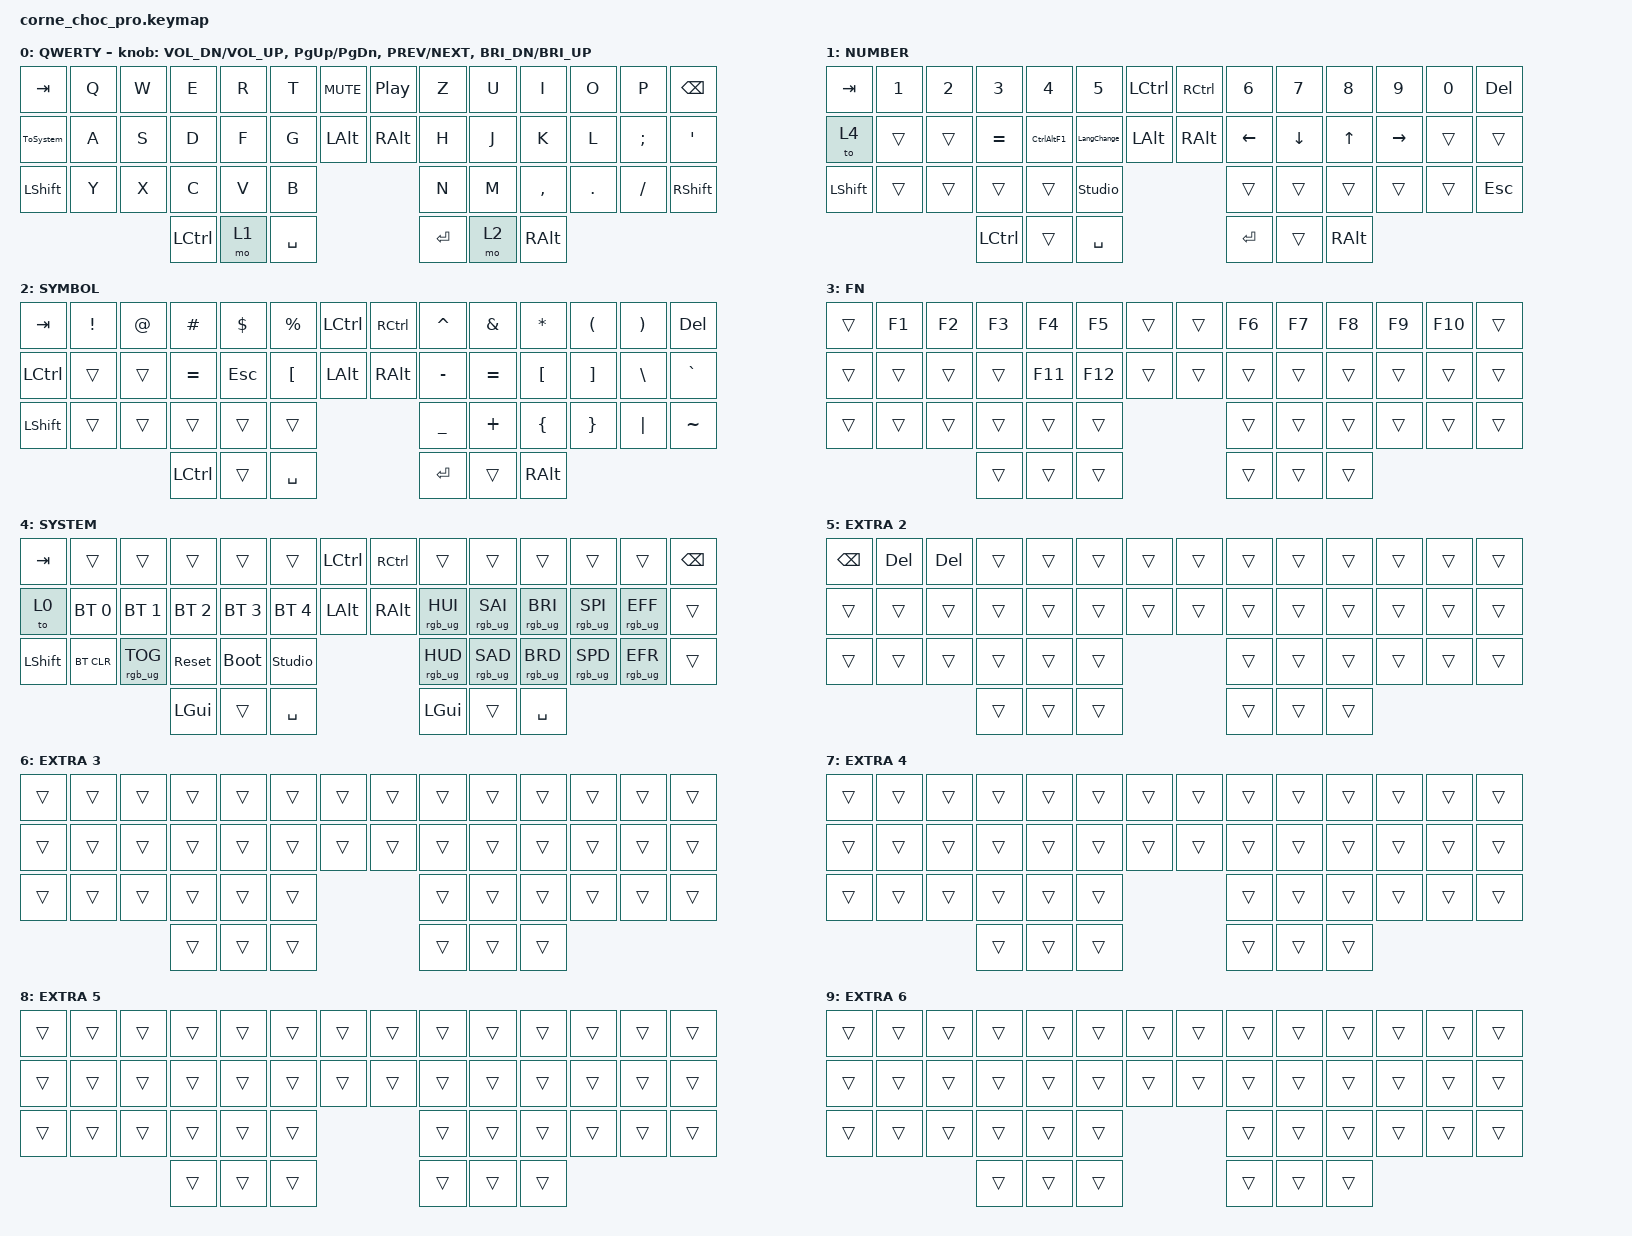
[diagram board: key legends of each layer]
/*
 * Copyright (c) 2020 The ZMK Contributors
 *
 * SPDX-License-Identifier: MIT
 */

#include <behaviors.dtsi>
#include <dt-bindings/zmk/bt.h>
#include <dt-bindings/zmk/keys.h>
#include <dt-bindings/zmk/rgb.h>
#include "keys_de.h"

/ {
    chosen { zmk,physical-layout = &default_layout; };
};

/ {
    macros {
        ToSystem: ToSystem {
            compatible = "zmk,behavior-macro";
            #binding-cells = <0>;
            bindings = <&to 4>;
            label = "TOSYSTEM";
        };

        fromSystem: fromSystem {
            compatible = "zmk,behavior-macro";
            #binding-cells = <0>;
            bindings = <&sys_reset>;
            label = "FROMSYSTEM";
        };

        CtrlAltF1: CtrlAltF1 {
            compatible = "zmk,behavior-macro";
            #binding-cells = <0>;
            bindings = <&kp LA(LC(F1))>;
            label = "CTRLALTF1";
        };

        LangChange: LangChange {
            compatible = "zmk,behavior-macro";
            #binding-cells = <0>;
            bindings = <&kp LG(SPACE)>;
            label = "LANGCHANGE";
        };
    };

    combos {
        compatible = "zmk,combos";

        win {
            bindings = <&kp LEFT_GUI>;
            key-positions = <45 40>;
        };
    };

    keymap {
        compatible = "zmk,keymap";

        default_layer {
            display-name = "QWERTY";

            // --------------------------------------------------------------------------------
            // |  TAB |  Q  |  W  |  E  |  R  |  T  |  MUTE |  PP   |  Y  |  U   |  I  |  O  |  P  | BSPC |
            // | CTRL |  A  |  S  |  D  |  F  |  G  |  LALT |  RALT |  H  |  J   |  K  |  L  |  ;  |  '   |
            // | SHFT |  Z  |  X  |  C  |  V  |  B  |               |  N  |  M   |  ,  |  .  |  /  | ESC  |
            //                    | GUI | LWR | SPC |               | ENT | RSE  | ALT |

            bindings = <
&kp TAB    &kp Q  &kp W  &kp E      &kp R  &kp T      &kp C_MUTE  &kp C_PP  &kp Z    &kp U  &kp I      &kp O    &kp P     &kp BSPC
&ToSystem  &kp A  &kp S  &kp D      &kp F  &kp G      &kp LALT    &kp RALT  &kp H    &kp J  &kp K      &kp L    &kp SEMI  &kp APOS
&kp LSHFT  &kp Y  &kp X  &kp C      &kp V  &kp B                            &kp N    &kp M  &kp COMMA  &kp DOT  &kp FSLH  &kp RIGHT_SHIFT
                         &kp LCTRL  &mo 1  &kp SPACE                        &kp RET  &mo 2  &kp RALT
            >;

            sensor-bindings = <&inc_dec_kp C_VOL_DN C_VOL_UP &inc_dec_kp PG_UP PG_DN &inc_dec_kp C_PREV C_NEXT &inc_dec_kp C_BRI_DN C_BRI_UP>;
        };

        lower_layer {
            display-name = "NUMBER";

            // -----------------------------------------------------------------------------------------
            // |  TAB |  1  |  2  |  3  |  4  |  5    |  LCTRL | RCTRL |  6  |  7  |  8  |  9  |  0  | BSPC |
            // | CTRL | BT1 | BT2 | BT3 | BT4 | BT5   |  LALT  | RALT  | LFT | DWN |  UP | RGT |     |      |
            // | SHFT | BTCR| RGB | RST | BOOT| Unlock|        |       |     |     |     |     |     |      |
            //                    | GUI |     | SPC   |        | ENT   |     | ALT |

            bindings = <
&kp TAB    &kp N1  &kp N2  &kp N3     &kp N4      &kp N5          &kp LCTRL  &kp RCTRL  &kp N6     &kp N7    &kp N8         &kp N9     &kp N0  &kp DEL
&to 4      &trans  &trans  &kp EQUAL  &CtrlAltF1  &LangChange     &kp LALT   &kp RALT   &kp LEFT   &kp DOWN  &kp UP         &kp RIGHT  &trans  &trans
&kp LSHFT  &trans  &trans  &trans     &trans      &studio_unlock                        &trans     &trans    &trans         &trans     &trans  &kp ESC
                           &kp LCTRL  &trans      &kp SPACE                             &kp ENTER  &trans    &kp RIGHT_ALT
            >;
        };

        raise_layer {
            display-name = "SYMBOL";

            // -----------------------------------------------------------------------------------------
            // |  TAB |  !  |  @  |  #  |  $  |  %  | LCTRL | RCTRL |  ^  |  &  |  *  |  (  |  )  | BSPC |
            // | CTRL |     |     |     |     |     |  LALT | RALT  |  -  |  =  |  [  |  ]  |  \  |  `   |
            // | SHFT |     |     |     |     |     |               |  _  |  +  |  {  |  }  | "|" |  ~   |
            //                    | GUI |     | SPC |               | ENT |     | ALT |

            bindings = <
&kp TAB    &kp EXCL  &kp AT  &kp HASH   &kp DLLR  &kp PRCNT  &kp LCTRL  &kp RCTRL  &kp CARET  &kp AMPS   &kp ASTRK  &kp LPAR  &kp RPAR  &kp DEL
&kp LCTRL  &trans    &trans  &kp EQUAL  &kp ESC   &kp LBKT   &kp LALT   &kp RALT   &kp MINUS  &kp EQUAL  &kp LBKT   &kp RBKT  &kp BSLH  &kp GRAVE
&kp LSHFT  &trans    &trans  &trans     &trans    &trans                           &kp UNDER  &kp PLUS   &kp LBRC   &kp RBRC  &kp PIPE  &kp TILDE
                             &kp LCTRL  &trans    &kp SPACE                        &kp RET    &trans     &kp RALT
            >;
        };

        extra_layer_1 {
            display-name = "FN";
            bindings = <
&trans  &kp F1  &kp F2  &kp F3  &kp F4   &kp F5   &trans  &trans  &kp F6  &kp F7  &kp F8  &kp F9  &kp F10  &trans
&trans  &trans  &trans  &trans  &kp F11  &kp F12  &trans  &trans  &trans  &trans  &trans  &trans  &trans   &trans
&trans  &trans  &trans  &trans  &trans   &trans                   &trans  &trans  &trans  &trans  &trans   &trans
                        &trans  &trans   &trans                   &trans  &trans  &trans
            >;
        };

        layer_9 {
            display-name = "SYSTEM";
            bindings = <
&kp TAB    &trans        &trans           &trans        &trans        &trans          &kp LCTRL  &kp RCTRL  &trans           &trans           &trans           &trans           &trans           &kp BSPC
&to 0      &bt BT_SEL 0  &bt BT_SEL 1     &bt BT_SEL 2  &bt BT_SEL 3  &bt BT_SEL 4    &kp LALT   &kp RALT   &rgb_ug RGB_HUI  &rgb_ug RGB_SAI  &rgb_ug RGB_BRI  &rgb_ug RGB_SPI  &rgb_ug RGB_EFF  &trans
&kp LSHFT  &bt BT_CLR    &rgb_ug RGB_TOG  &sys_reset    &bootloader   &studio_unlock                        &rgb_ug RGB_HUD  &rgb_ug RGB_SAD  &rgb_ug RGB_BRD  &rgb_ug RGB_SPD  &rgb_ug RGB_EFR  &trans
                                          &kp LGUI      &trans        &kp SPACE                             &kp LGUI         &trans           &kp SPACE
            >;
        };

        extra_layer_2 {
            display-name = "EXTRA 2";
            bindings = <
&kp BSPC  &kp DEL  &kp DEL  &trans  &trans  &trans  &trans  &trans  &trans  &trans  &trans  &trans  &trans  &trans
&trans    &trans   &trans   &trans  &trans  &trans  &trans  &trans  &trans  &trans  &trans  &trans  &trans  &trans
&trans    &trans   &trans   &trans  &trans  &trans                  &trans  &trans  &trans  &trans  &trans  &trans
                            &trans  &trans  &trans                  &trans  &trans  &trans
            >;
        };

        extra_layer_3 {
            display-name = "EXTRA 3";
            bindings = <
&trans  &trans  &trans  &trans  &trans  &trans  &trans  &trans  &trans  &trans  &trans  &trans  &trans  &trans
&trans  &trans  &trans  &trans  &trans  &trans  &trans  &trans  &trans  &trans  &trans  &trans  &trans  &trans
&trans  &trans  &trans  &trans  &trans  &trans                  &trans  &trans  &trans  &trans  &trans  &trans
                        &trans  &trans  &trans                  &trans  &trans  &trans
            >;
        };

        extra_layer_4 {
            display-name = "EXTRA 4";
            bindings = <
&trans  &trans  &trans  &trans  &trans  &trans  &trans  &trans  &trans  &trans  &trans  &trans  &trans  &trans
&trans  &trans  &trans  &trans  &trans  &trans  &trans  &trans  &trans  &trans  &trans  &trans  &trans  &trans
&trans  &trans  &trans  &trans  &trans  &trans                  &trans  &trans  &trans  &trans  &trans  &trans
                        &trans  &trans  &trans                  &trans  &trans  &trans
            >;
        };

        extra_layer_5 {
            display-name = "EXTRA 5";
            bindings = <
&trans  &trans  &trans  &trans  &trans  &trans  &trans  &trans  &trans  &trans  &trans  &trans  &trans  &trans
&trans  &trans  &trans  &trans  &trans  &trans  &trans  &trans  &trans  &trans  &trans  &trans  &trans  &trans
&trans  &trans  &trans  &trans  &trans  &trans                  &trans  &trans  &trans  &trans  &trans  &trans
                        &trans  &trans  &trans                  &trans  &trans  &trans
            >;
        };

        extra_layer_6 {
            display-name = "EXTRA 6";
            bindings = <
&trans  &trans  &trans  &trans  &trans  &trans  &trans  &trans  &trans  &trans  &trans  &trans  &trans  &trans
&trans  &trans  &trans  &trans  &trans  &trans  &trans  &trans  &trans  &trans  &trans  &trans  &trans  &trans
&trans  &trans  &trans  &trans  &trans  &trans                  &trans  &trans  &trans  &trans  &trans  &trans
                        &trans  &trans  &trans                  &trans  &trans  &trans
            >;
        };
    };

    conditional_layers {
        compatible = "zmk,conditional-layers";

        FN_SC {
            if-layers = <1 2>;
            then-layer = <3>;
        };
    };
};
